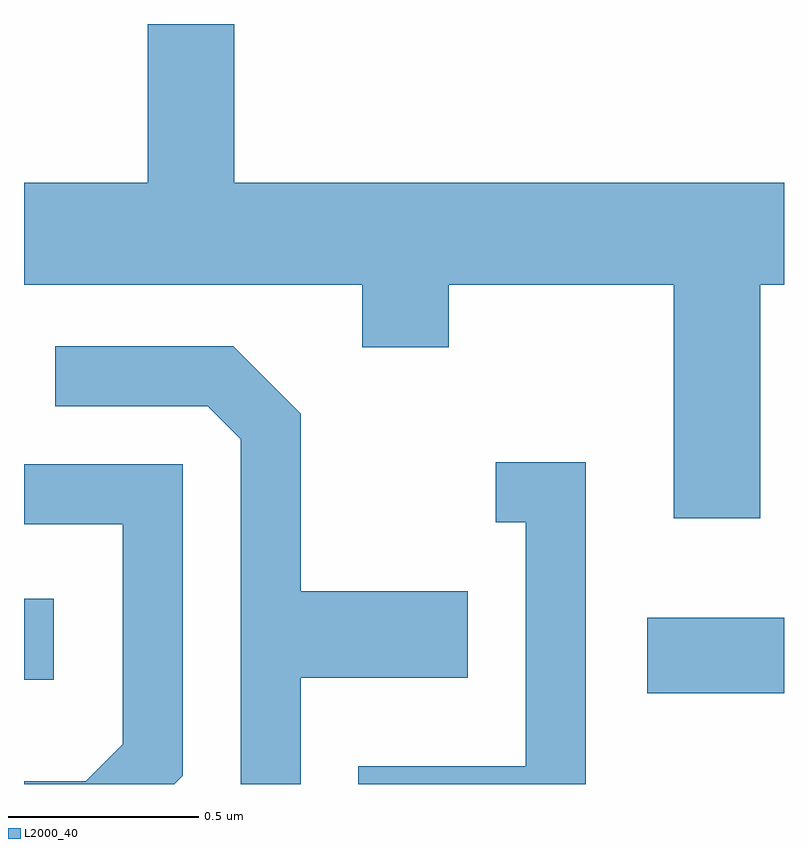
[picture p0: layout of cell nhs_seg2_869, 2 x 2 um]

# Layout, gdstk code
import gdstk
lib = gdstk.Library(unit=1e-6, precision=1e-09)
def R(c, l, rs):  # rectangles x0, y0, x1, y1
    for r in rs: c.add(gdstk.rectangle(r[:2], r[2:], *l))
def P(c, l, *ps):  # polygons
    for p in ps: c.add(gdstk.Polygon(p, *l))
L2000_40 = (2000, 40)

nhs_seg2_869 = lib.new_cell('nhs_seg2_869')
R(nhs_seg2_869, L2000_40, [(193.251,1025.041,193.611,1025.239), (191.611,1025.076,191.689,1025.289)])
P(nhs_seg2_869, L2000_40, [(193.549,1026.116),(193.611,1026.116),(193.611,1026.384),(192.164,1026.384),(192.164,1026.802),(191.936,1026.802),(191.936,1026.384),(191.611,1026.384),(191.611,1026.116),(192.501,1026.116),(192.501,1025.951),(192.729,1025.951),(192.729,1026.116),(193.321,1026.116),(193.321,1025.501),(193.549,1025.501)],
  [(192.339,1025.081),(192.779,1025.081),(192.779,1025.309),(192.339,1025.309),(192.339,1025.777),(192.162,1025.954),(191.693,1025.954),(191.693,1025.796),(192.094,1025.796),(192.181,1025.709),(192.181,1024.802),(192.339,1024.802)],
  [(193.089,1025.649),(192.853,1025.649),(192.853,1025.491),(192.931,1025.491),(192.931,1024.849),(192.491,1024.849),(192.491,1024.802),(193.089,1024.802)],
  [(192.029,1024.824),(192.029,1025.644),(191.611,1025.644),(191.611,1025.486),(191.871,1025.486),(191.871,1024.907),(191.774,1024.809),(191.611,1024.809),(191.611,1024.802),(192.007,1024.802)])

lib.write_gds('nhs_seg2_869.gds')
